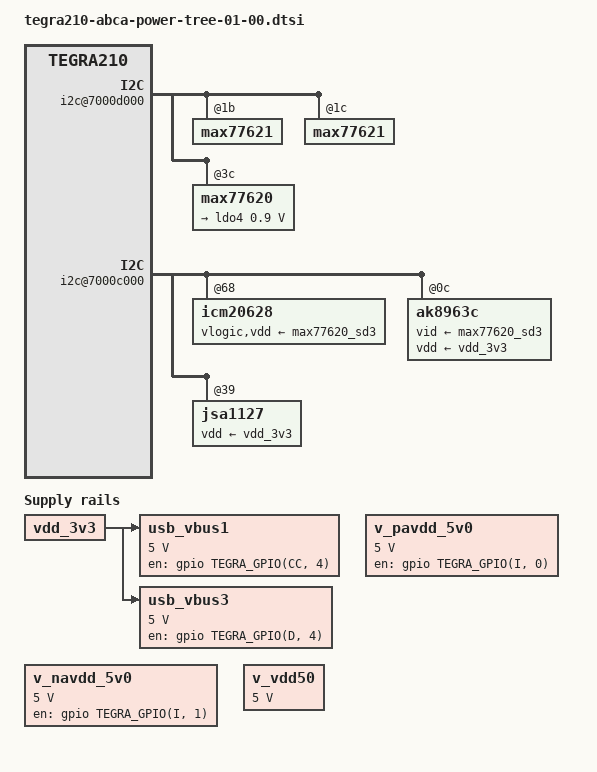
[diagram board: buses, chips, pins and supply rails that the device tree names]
/*
 * Copyright (c) 2014-2016, NVIDIA CORPORATION.  All rights reserved.
 *
 * This program is free software; you can redistribute it and/or modify
 * it under the terms of the GNU General Public License as published by
 * the Free Software Foundation; either version 2 of the License, or
 * (at your option) any later version.
 *
 * This program is distributed in the hope that it will be useful, but WITHOUT
 * ANY WARRANTY; without even the implied warranty of MERCHANTABILITY or
 * FITNESS FOR A PARTICULAR PURPOSE.  See the GNU General Public License for
 * more details.
 *
 * You should have received a copy of the GNU General Public License along
 * along with this program. If not, see <http://www.gnu.org/licenses/>.
 */

#include "tegra210-abca-pmic-01-00.dtsi"
#include "tegra210-abca-power-fixed-01-00.dtsi"
#include <t210-common-platforms/tegra210-ers-power-dvfs-e2174-1101-a00.dtsi>

/ {

	dfll-ovr@70110000 {
		status = "disabled";
	};

	dfll-max77621@70110000 {
		status = "disabled";
	};

	pwm_regulators {
		pwm-regulator@0 {
			status = "disabled";
		};

		pwm-regulator@1 {
			status = "disabled";
		};
	};

	i2c@7000d000 {
		max77621@1b {
			status = "okay";
		};

		max77621@1c {
			status = "okay";
		};
	};

	dvfs_rails {
		vdd-cpu-rail-ovr@0 {
			status = "disabled";
		};

		vdd-gpu-rail-ovr@1 {
			status = "disabled";
		};

		vdd-cpu-rail-max77621@2 {
			status = "okay";
		};

		vdd-gpu-rail-max77621@3 {
			status = "okay";
		};
	};

	cpuidle {
		vdd-cpu-supply = <&cpu_max77621_reg>;
		cc4-microvolt = <606250>;
	};

	dummy_cool_dev: dummy-cool-dev {
		compatible = "dummy-cooling-dev";
		#cooling-cells = <2>; /* min followed by max */
	};

	thermal-zones {
		PMIC-Die {
			polling-delay = <0>; /* milliseconds */
			polling-delay-passive = <0>; /* milliseconds */

			thermal-sensors = <&max77620>;
			trips {
				die_temp_thresh: hot-die {
					temperature = <120000>;
					type = "active";
					hysteresis = <0>;
				};
			};

			cooling-maps {
				map0 {
					trip = <&die_temp_thresh>;
					cooling-device = <&dummy_cool_dev THERMAL_NO_LIMIT
								THERMAL_NO_LIMIT>;
					contribution = <100>;
					cdev-type = "emergency-balanced";
				};
			};
		};
	};

	i2c@7000d000 {
		max77620@3c {
			regulators {
				sd0 {
					regulator-enable-ramp-delay = <146>;
					regulator-disable-ramp-delay = <4080>;
					regulator-ramp-delay = <27500>;
					regulator-ramp-delay-scale = <300>;
				};

				sd1 {
					regulator-enable-ramp-delay = <130>;
					regulator-disable-ramp-delay = <145800>;
					regulator-ramp-delay = <27500>;
					regulator-ramp-delay-scale = <300>;
				};

				sd2 {
					regulator-enable-ramp-delay = <176>;
					regulator-disable-ramp-delay = <32000>;
					regulator-ramp-delay = <27500>;
					regulator-ramp-delay-scale = <350>;
				};

				sd3 {
					regulator-enable-ramp-delay = <242>;
					regulator-disable-ramp-delay = <118000>;
					regulator-ramp-delay = <27500>;
					regulator-ramp-delay-scale = <360>;
				};

				ldo0 {
					regulator-enable-ramp-delay = <26>;
					regulator-disable-ramp-delay = <626>;
					regulator-ramp-delay = <100000>;
					regulator-ramp-delay-scale = <200>;
				};

				ldo1 {
					regulator-enable-ramp-delay = <22>;
					regulator-disable-ramp-delay = <630>;
					regulator-ramp-delay = <100000>;
					regulator-ramp-delay-scale = <200>;
				};

				ldo2 {
					regulator-enable-ramp-delay = <62>;
					regulator-disable-ramp-delay = <650>;
					regulator-ramp-delay = <100000>;
					regulator-ramp-delay-scale = <200>;
				};

				ldo3 {
					regulator-enable-ramp-delay = <50>;
					regulator-disable-ramp-delay = <1110>;
					regulator-ramp-delay = <100000>;
					regulator-ramp-delay-scale = <200>;
				};

				ldo4 {
					regulator-enable-ramp-delay = <22>;
					regulator-disable-ramp-delay = <610>;
					regulator-ramp-delay = <100000>;
					regulator-ramp-delay-scale = <200>;
					regulator-min-microvolt = <900000>;
					regulator-max-microvolt = <900000>;
				};

				ldo5 {
					regulator-enable-ramp-delay = <62>;
					regulator-disable-ramp-delay = <640>;
					regulator-ramp-delay = <100000>;
					regulator-ramp-delay-scale = <200>;
				};

				ldo6 {
					regulator-enable-ramp-delay = <36>;
					regulator-disable-ramp-delay = <674>;
					regulator-ramp-delay = <100000>;
					regulator-ramp-delay-scale = <200>;
				};

				ldo7 {
					regulator-enable-ramp-delay = <24>;
					regulator-disable-ramp-delay = <2768>;
					regulator-ramp-delay = <100000>;
					regulator-ramp-delay-scale = <200>;
				};

				ldo8 {
					regulator-enable-ramp-delay = <22>;
					regulator-disable-ramp-delay = <1160>;
					regulator-ramp-delay = <100000>;
					regulator-ramp-delay-scale = <200>;
				};
			};
		};
	};

	regulators {
		regulator@1 {
			regulator-enable-ramp-delay = <160>;
			regulator-disable-ramp-delay = <10000>;
		};

		regulator@2 {
			regulator-always-on;
			regulator-min-microvolt = <1200000>;
			regulator-max-microvolt = <1200000>;
			regulator-enable-ramp-delay = <240>;
			regulator-disable-ramp-delay = <11340>;
		};

		regulator@4 {
			regulator-enable-ramp-delay = <472>;
			regulator-disable-ramp-delay = <4880>;
		};

		regulator@6 {
			regulator-enable-ramp-delay = <3090>;
		};

		regulator@7 {
			regulator-enable-ramp-delay = <468>;
			regulator-disable-ramp-delay = <13000>;
		};

		v_pavdd_5v0: regulator@12 {
			compatible = "regulator-fixed-sync";
			reg = <12>;
			regulator-name = "v_pavdd_5v0";
			regulator-min-microvolt = <5000000>;
			regulator-max-microvolt = <5000000>;
			gpio = <&gpio TEGRA_GPIO(I, 0) 0>;
			enable-active-high;
			regulator-enable-ramp-delay = <232>;
		};

		v_navdd_5v0: regulator@13 {
			compatible = "regulator-fixed-sync";
			reg = <13>;
			regulator-name = "v_navdd_5v0";
			regulator-min-microvolt = <5000000>;
			regulator-max-microvolt = <5000000>;
			gpio = <&gpio TEGRA_GPIO(I, 1) 0>;
			enable-active-high;
			regulator-enable-ramp-delay = <232>;
		};

		usb_vbus1: regulator@14 {
			compatible = "regulator-fixed-sync";
			reg = <14>;
			regulator-name = "usb-vbus1";
			regulator-min-microvolt = <5000000>;
			regulator-max-microvolt = <5000000>;
			gpio = <&gpio TEGRA_GPIO(CC, 4) 0>;
			enable-active-high;
			gpio-open-drain;
			vin-supply = <&vdd_3v3>;
		};

		usb_vbus3: regulator@15 {
			compatible = "regulator-fixed-sync";
			reg = <15>;
			regulator-name = "usb-vbus3";
			regulator-min-microvolt = <5000000>;
			regulator-max-microvolt = <5000000>;
			gpio = <&gpio TEGRA_GPIO(D, 4) 0>;
			enable-active-high;
			gpio-open-drain;
			vin-supply = <&vdd_3v3>;
		};

		v_vdd50: regulator@16 {
			compatible = "regulator-fixed-sync";
			reg = <16>;
			regulator-name = "v_vdd50";
			regulator-min-microvolt = <5000000>;
			regulator-max-microvolt = <5000000>;
			regulator-always-on;
		};
	};
	i2c@7000c000 {
		icm20628@68 {
			vlogic-supply = <&max77620_sd3>;
			vdd-supply = <&max77620_sd3>;
		};

		ak8963c@0c {
			vid-supply = <&max77620_sd3>;
			vdd-supply = <&vdd_3v3>;
		};

		jsa1127@39 {
			vdd-supply = <&vdd_3v3>;
		};
	};

	i2c@546c0000 {
		bus-pullup-supply = <&battery_reg>;
	};

	efuse@7000f800 {
		vpp_fuse-supply = <&max77620_sd3>;
	};

	host1x {
		/* tegradc.0 */
		dc@54200000 {
			avdd_dsi_csi-supply = <&max77620_gpio7>;
			pavdd_lcd-supply = <&v_pavdd_5v0>;
			navdd_lcd-supply = <&v_navdd_5v0>;
			dvdd_lcd-supply = <&max77620_sd3>;
			vdd_lcd_bl_en-supply = <&lcd_bl_en>;
		};

		/* tegradc.1 */
		dc@54240000 {
			avdd_hdmi-supply = <&max77620_ldo8>;    /* 1V05 */
			avdd_hdmi_pll-supply = <&max77620_sd3>; /* 1V8 */
			vdd_hdmi_5v0-supply = <&vdd_hdmi>;	/* 5V0 GPIO_PCC7 fixed reg */
			/* dp */
			vdd-dp-pwr-supply = <&vdd_3v3>;
			avdd-dp-pll-supply = <&max77620_sd3>;
			vdd-edp-sec-mode-supply = <&vdd_sys_boost>;
			vdd-dp-pad-supply = <&max77620_ldo8>;
		};

		vi {
			avdd_dsi_csi-supply = <&max77620_gpio7>;
		};
	};

	sound {
		ldoen-supply = <&vdd_sys_boost>;
		spkvdd-supply = <&vdd_sys_boost>;
		dbvdd-supply = <&vdd_sys_boost>;
		avdd-supply = <&vdd_sys_boost>;
		dmicvdd-supply = <&max77620_sd3>;
	};

	pmc-iopower {
		vddio-sys-supply = <&max77620_sd3>;
		vddio-uart-supply = <&max77620_sd3>;
		vddio-audio-supply = <&max77620_sd3>;
		vddio-cam-supply = <&max77620_sd3>;
		vddio-pex-ctrl-supply = <&max77620_sd3>;
		vddio-sdmmc1-supply = <&max77620_ldo2>;
		vddio-sdmmc3-supply = <&max77620_sd3>;
		vddio-sdmmc4-supply = <&max77620_sd3>;
		vddio-audio-hv-supply = <&max77620_sd3>;
		vddio-debug-supply = <&max77620_sd3>;
		vddio-dbg-supply = <&max77620_sd3>;
		vddio-dmic-supply = <&max77620_sd3>;
		vddio-gpio-supply = <&max77620_sd3>;
		vddio-spi-supply = <&max77620_sd3>;
		vddio-spi-hv-supply = <&max77620_sd3>;
		vddio-sdmmc2-supply = <&max77620_sd3>;
		vddio-dp-supply = <&max77620_sd3>;
	};

	udc@7d000000 {
		avdd_usb-supply = <&vdd_3v3>;
		avdd_pll_utmip-supply = <&max77620_sd3>;
	};

	usb_cd@7009f000 {
	};

	ehci@7d000000 {
		avdd_usb-supply = <&vdd_3v3>;
		avdd_pll_utmip-supply = <&max77620_sd3>;
	};

	pinctrl@7009f000 {
		vbus-0-supply = <&battery_reg>;
		vbus-1-supply = <&battery_reg>;
		vbus-2-supply = <&battery_reg>;
		vbus-3-supply = <&battery_reg>;
		vddio-hsic-supply = <&max77620_ldo0>;
		avdd_pll_uerefe-supply = <&max77620_ldo7>;
		hvdd_pex_pll_e-supply = <&max77620_sd3>;
		dvdd_pex_pll-supply = <&max77620_ldo1>;
		hvddio_pex-supply = <&max77620_sd3>;
		dvddio_pex-supply = <&max77620_ldo1>;
		hvdd_sata-supply = <&max77620_sd3>;
		dvdd_sata_pll-supply = <&max77620_ldo8>;
		hvddio_sata-supply = <&max77620_sd3>;
		dvddio_sata-supply = <&max77620_ldo8>;
	};

	xudc@700d0000 {
                hvdd_usb-supply = <&vdd_3v3>;
                avdd_pll_utmip-supply = <&max77620_sd3>;
                avddio_usb-supply = <&max77620_ldo1>;
                avddio_pll_uerefe-supply = <&max77620_ldo7>;
        };

	xotg {
		usb_vbus-supply = <&v_vdd50>;
	};

	xusb_padctl {
		avdd_pll_uerefe-supply = <&max77620_ldo7>;
		hvdd_pex_pll_e-supply = <&max77620_sd3>;
		dvdd_pex_pll-supply = <&max77620_ldo1>;
		hvddio_pex-supply = <&max77620_sd3>;
		dvddio_pex-supply = <&max77620_ldo1>;
		hvdd_sata-supply = <&max77620_sd3>;
		dvdd_sata_pll-supply = <&max77620_ldo8>;
		hvddio_sata-supply = <&max77620_sd3>;
		dvddio_sata-supply = <&max77620_ldo8>;
	};

	otg@7d000000 {
		usb_vbus-supply = <&v_vdd50>;
	};

	sdhci@700b0600 {
		vqmmc-supply = <&max77620_sd3>;
		vmmc-supply = <&vdd_3v3>;
	};

	sdhci@700b0400 {
		vqmmc-supply = <&max77620_sd3>;
		vmmc-supply = <&vdd_3v3>;
	};

	sdhci@700b0200 {
		vqmmc-supply = <&max77620_sd3>;
		vmmc-supply = <&vdd_3v3>;
	};

	sdhci@700b0000 {
		vqmmc-supply = <&max77620_ldo2>;
		vmmc-supply = <&en_vdd_sd>;
	};

	sata@70020000 {
		hvdd_sata-supply = <&max77620_sd3>;
		hvdd_pex_pll_e-supply = <&max77620_sd3>;
		l0_hvddio_sata-supply = <&max77620_sd3>;
		l0_dvddio_sata-supply = <&max77620_ldo8>;
		dvdd_sata_pll-supply = <&max77620_ldo8>;
	};

	bluedroid_pm {
		avdd-supply = <&battery_reg>;
		dvdd-supply = <&max77620_sd3>;
	};

	pwm-fan {
		vdd-fan-supply = <&v_vdd50>;
	};
};
